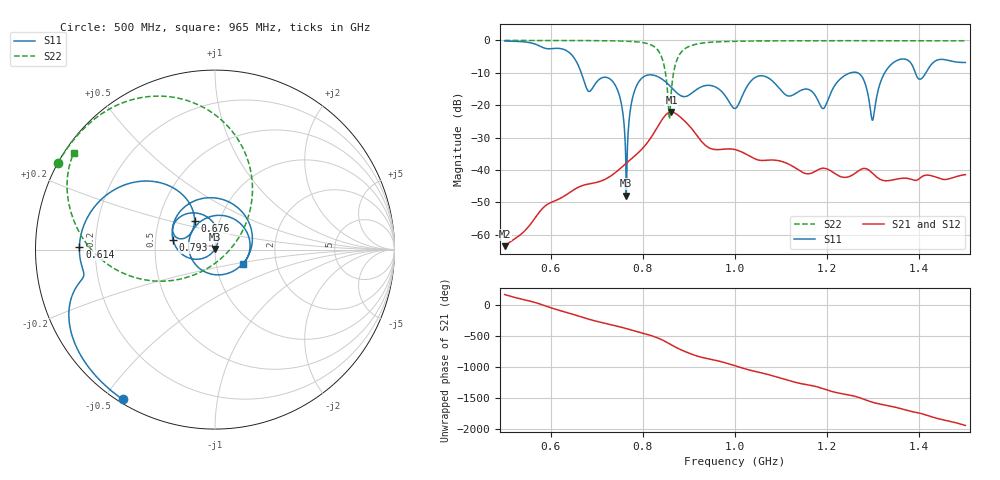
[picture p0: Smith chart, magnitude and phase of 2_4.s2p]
! TOUCHSTONE file generated by CST MICROWAVE STUDIO
! Date and time: Sat Nov 14 19:58:09 2020
! Project name: Scenario_1_Planar_Body_Tissue_Out_of_Line.cst
! Parameters = {dy1=328.7; L_HA=400; Ltissue=700; MT=2.54; Rad_Dielectric=30; Rad_Lower=7.3; Rad_Upper=30; Wtissue=700; a_HA=580; a_WG=246; b_HA=500; b_WG=121; c_HA=0; c_WG=187; d_feed=85; dx1=693; h_feed=15; h_lower=18; h_upper=40; hfat=3; hgap=25; hmuscle=50; hskin=1.5}
! Header version: 2018
! Port assignment regex: !\s*Touchstone port\s*([0-9]+)\s*=\s*(CST MWS port|CST DS port)\s*([0-9]+|Zmin|Zmax)\s*\(\"(.*)\"\)(\s*mode\s*([0-9]+))?.*
! Touchstone port assignment:
! Touchstone port 1 = CST MWS port 1 ("")
! Touchstone port 2 = CST MWS port 2 ("")
# GHz S DB R 50
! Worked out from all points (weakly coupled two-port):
!   1003 points, 500 MHz to 1.5 GHz, reference 50 ohm
!   highest |S21| = -22.11 dB at 862 MHz (marker M1); lowest = -63.5 dB at 500 MHz (marker M2)
!   lowest |S11| = -47.9 dB at 764 MHz (marker M3), VSWR 1.01, Z = 50 + j0.403 ohm
!   |S11| at or under -10 dB: 666.3 MHz to 1.251 GHz (584.4 MHz wide, 61 % of centre); 1.266 GHz to 1.325 GHz (58.47 MHz wide, 4.51 % of centre); 1.391 GHz to 1.414 GHz (22.69 MHz wide, 1.62 % of centre)
!   |S22| runs from -24.3 to 0.0 dB; largest |S21 - S12| = 2.2e-05
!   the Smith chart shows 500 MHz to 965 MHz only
!   S11 on the Smith chart (normalised r, x): 500 MHz: 0.01, -0.56; 614 MHz: 0.14, +0.01; 676 MHz: 0.76, +0.25; 793 MHz: 0.62, +0.07; 965 MHz: 1.36, -0.22
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0.5  -0.17 -121.7  -63.53 162.2  -63.53 162.2  -0.01 151.2
0.614  -2.43 179.0  -49.23 -82.4  -49.23 -82.4  -0.02 143.0
0.667  -10.28 119.0  -44.91 160.3  -44.91 160.3  -0.04 138.4
0.676  -14.11 125.4  -44.52 139.6  -44.52 139.6  -0.05 137.5
0.738  -13.33 112.4  -41.08 23.9  -41.08 23.9  -0.13 129.6
0.764  -47.88 86.2  -37.92 -25.8  -37.92 -25.8  -0.23 124.6
0.793  -12.40 167.2  -34.27 -85.4  -34.27 -85.4  -0.53 115.8
0.834  -11.30 68.6  -26.23 178.0  -26.23 178.0  -3.28 83.6
0.862  -14.51 -11.0  -22.11 70.4  -22.11 70.4  -15.43 -127.1
0.885  -17.23 -101.1  -24.13 -15.0  -24.13 -15.0  -3.34 -179.2
0.926  -14.39 86.7  -30.96 -125.5  -30.96 -125.5  -0.88 155.8
0.965  -15.03 -26.5  -33.70 170.3  -33.70 170.3  -0.41 145.8
1  -21.02 -169.9  -33.71 94.9  -33.71 94.9  -0.27 140.2
1.052  -10.97 -12.8  -36.97 -10.2  -36.97 -10.2  -0.16 134.2
1.102  -15.78 -160.3  -37.38 -110.7  -37.38 -110.7  -0.12 129.5
1.167  -15.76 -24.7  -40.92 135.6  -40.92 135.6  -0.10 124.2
1.192  -21.02 -153.7  -39.46 83.9  -39.46 83.9  -0.09 122.3
1.265  -9.92 3.5  -40.57 -46.4  -40.57 -46.4  -0.09 116.7
1.299  -24.58 16.5  -41.10 -134.2  -41.10 -134.2  -0.08 114.2
1.334  -8.15 29.9  -43.28 171.3  -43.28 171.3  -0.08 111.5
1.381  -6.87 -33.8  -42.81 82.4  -42.81 82.4  -0.09 107.9
1.5  -6.82 -47.2  -41.44 -146.0  -41.44 -146.0  -0.13 97.9
